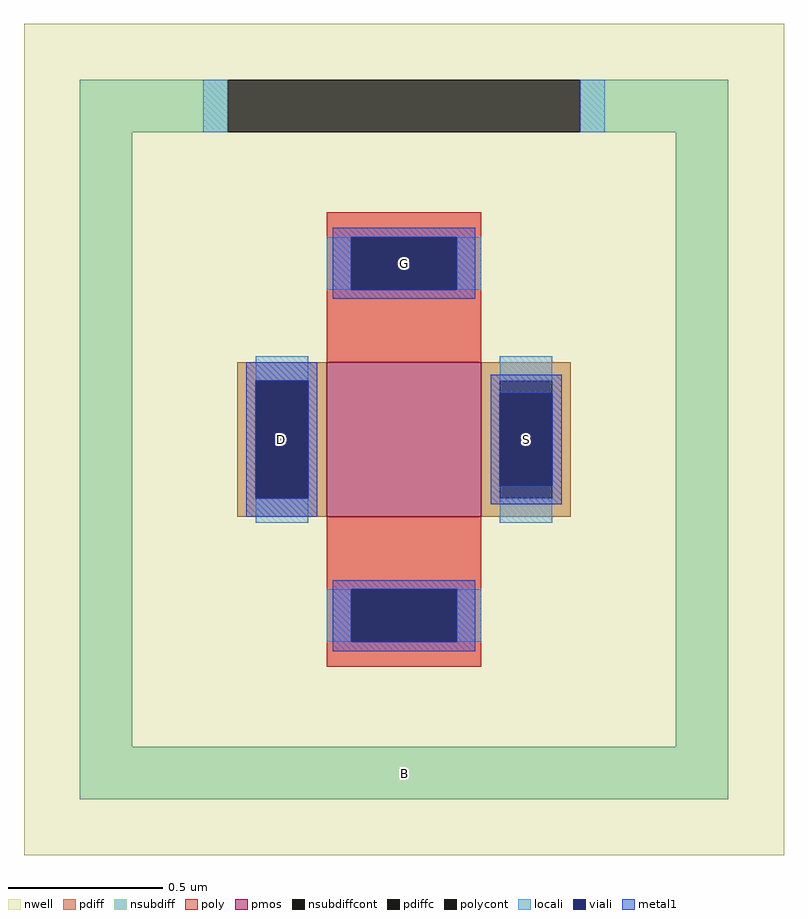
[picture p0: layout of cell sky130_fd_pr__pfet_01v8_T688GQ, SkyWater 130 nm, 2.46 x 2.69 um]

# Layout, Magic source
magic
tech sky130A
magscale 1 2
<< nwell >>
rect -246 -269 246 269
<< pmos >>
rect -50 -50 50 50
<< pdiff >>
rect -108 38 -50 50
rect -108 -38 -96 38
rect -62 -38 -50 38
rect -108 -50 -50 -38
rect 50 38 108 50
rect 50 -38 62 38
rect 96 -38 108 38
rect 50 -50 108 -38
<< pdiffc >>
rect -96 -38 -62 38
rect 62 -38 96 38
<< nsubdiff >>
rect -210 199 -114 233
rect 114 199 210 233
rect -210 -199 -176 199
rect 176 -199 210 199
rect -210 -233 210 -199
<< nsubdiffcont >>
rect -114 199 114 233
<< poly >>
rect -50 131 50 147
rect -50 97 -34 131
rect 34 97 50 131
rect -50 50 50 97
rect -50 -97 50 -50
rect -50 -131 -34 -97
rect 34 -131 50 -97
rect -50 -147 50 -131
<< polycont >>
rect -34 97 34 131
rect -34 -131 34 -97
<< locali >>
rect -130 199 -114 233
rect 114 199 130 233
rect -50 97 -34 131
rect 34 97 50 131
rect -96 38 -62 54
rect -96 -54 -62 -38
rect 62 38 96 54
rect 62 -54 96 -38
rect -50 -131 -34 -97
rect 34 -131 50 -97
<< viali >>
rect -34 97 34 131
rect -96 -38 -62 38
rect 62 -30 96 30
rect -34 -131 34 -97
<< metal1 >>
rect -46 131 46 137
rect -46 97 -34 131
rect 34 97 46 131
rect -46 91 46 97
rect -102 38 -56 50
rect -102 -38 -96 38
rect -62 -38 -56 38
rect -102 -50 -56 -38
rect 56 30 102 42
rect 56 -30 62 30
rect 96 -30 102 30
rect 56 -42 102 -30
rect -46 -97 46 -91
rect -46 -131 -34 -97
rect 34 -131 46 -97
rect -46 -137 46 -131
<< labels >>
rlabel nsubdiff 0 -216 0 -216 0 B
port 1 nsew
rlabel pdiffc -79 0 -79 0 0 D
port 2 nsew
rlabel pdiffc 79 0 79 0 0 S
port 3 nsew
rlabel polycont 0 114 0 114 0 G
port 4 nsew
<< properties >>
string FIXED_BBOX -193 -216 193 216
string gencell sky130_fd_pr__pfet_01v8
string library sky130
string parameters w 0.5 l 0.5 m 1 nf 1 diffcov 100 polycov 100 guard 1 glc 0 grc 0 gtc 1 gbc 0 tbcov 100 rlcov 100 topc 1 botc 1 poverlap 0 doverlap 1 lmin 0.15 wmin 0.42 class mosfet compatible {sky130_fd_pr__pfet_01v8  sky130_fd_pr__pfet_01v8_lvt sky130_fd_pr__pfet_01v8_hvt  sky130_fd_pr__pfet_g5v0d10v5} full_metal 0 conn_gates 0 viasrc 80 viadrn 100 viagate 100 viagb 0 viagr 0 viagl 0 viagt 0 doports 1
<< end >>
